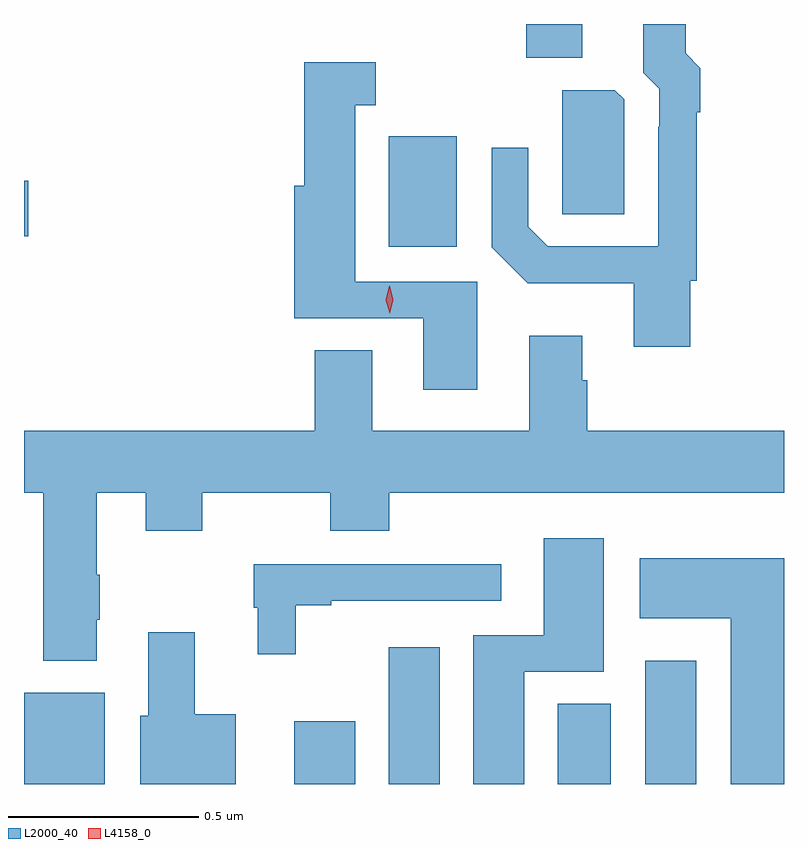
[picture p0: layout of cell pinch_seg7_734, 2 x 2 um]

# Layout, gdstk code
import gdstk
lib = gdstk.Library(unit=1e-6, precision=1e-09)
def R(c, l, rs):  # rectangles x0, y0, x1, y1
    for r in rs: c.add(gdstk.rectangle(r[:2], r[2:], *l))
def P(c, l, *ps):  # polygons
    for p in ps: c.add(gdstk.Polygon(p, *l))
L2000_40 = (2000, 40)
L4158_0 = (4158, 0)

pinch_seg7_734 = lib.new_cell('pinch_seg7_734')
R(pinch_seg7_734, L2000_40, [(276.278,1025.158,276.49,1025.398), (276.989,1025.158,277.15,1025.323), (277.238,1025.158,277.372,1025.518), (277.682,1025.158,277.822,1025.369), (277.913,1025.158,278.047,1025.482), (277.238,1026.572,277.417,1026.862), (276.278,1026.599,276.289,1026.746), (277.6,1027.069,277.747,1027.158)])
P(pinch_seg7_734, L2000_40, [(278.031,1026.483),(278.048,1026.483),(278.048,1026.926),(278.058,1026.926),(278.058,1027.042),(278.02,1027.081),(278.02,1027.158),(277.907,1027.158),(277.907,1027.03),(277.95,1026.987),(277.95,1026.887),(277.947,1026.887),(277.947,1026.573),(277.656,1026.573),(277.605,1026.624),(277.605,1026.832),(277.509,1026.832),(277.509,1026.57),(277.603,1026.476),(277.883,1026.476),(277.883,1026.309),(278.031,1026.309)],
  [(277.471,1026.48),(277.15,1026.48),(277.15,1026.944),(277.204,1026.944),(277.204,1027.057),(277.016,1027.057),(277.016,1026.733),(276.989,1026.733),(276.989,1026.384),(277.328,1026.384),(277.328,1026.195),(277.471,1026.195)],
  [(277.857,1026.96),(277.833,1026.984),(277.694,1026.984),(277.694,1026.769),(277.695,1026.769),(277.695,1026.658),(277.857,1026.658)],
  [(276.469,1025.59),(276.477,1025.59),(276.477,1025.709),(276.469,1025.709),(276.469,1025.924),(276.599,1025.924),(276.599,1025.825),(276.747,1025.825),(276.747,1025.924),(277.084,1025.924),(277.084,1025.825),(277.239,1025.825),(277.239,1025.924),(278.278,1025.924),(278.278,1026.088),(277.76,1026.088),(277.76,1026.221),(277.747,1026.221),(277.747,1026.337),(277.607,1026.337),(277.607,1026.088),(277.195,1026.088),(277.195,1026.299),(277.043,1026.299),(277.043,1026.088),(276.278,1026.088),(276.278,1025.924),(276.329,1025.924),(276.329,1025.483),(276.469,1025.483)],
  [(277.594,1025.454),(277.804,1025.454),(277.804,1025.805),(277.646,1025.805),(277.646,1025.55),(277.46,1025.55),(277.46,1025.158),(277.594,1025.158)],
  [(278.278,1025.752),(277.898,1025.752),(277.898,1025.594),(278.138,1025.594),(278.138,1025.158),(278.278,1025.158)],
  [(276.993,1025.628),(277.087,1025.628),(277.087,1025.64),(277.534,1025.64),(277.534,1025.736),(276.882,1025.736),(276.882,1025.622),(276.893,1025.622),(276.893,1025.499),(276.993,1025.499)],
  [(276.835,1025.341),(276.727,1025.341),(276.727,1025.557),(276.605,1025.557),(276.605,1025.337),(276.584,1025.337),(276.584,1025.158),(276.835,1025.158)])
P(pinch_seg7_734, L4158_0, [(277.24,1026.397),(277.24,1026.397),(277.23,1026.433),(277.239,1026.469),(277.239,1026.469),(277.24,1026.469),(277.25,1026.433),(277.24,1026.397)])

lib.write_gds('pinch_seg7_734.gds')
